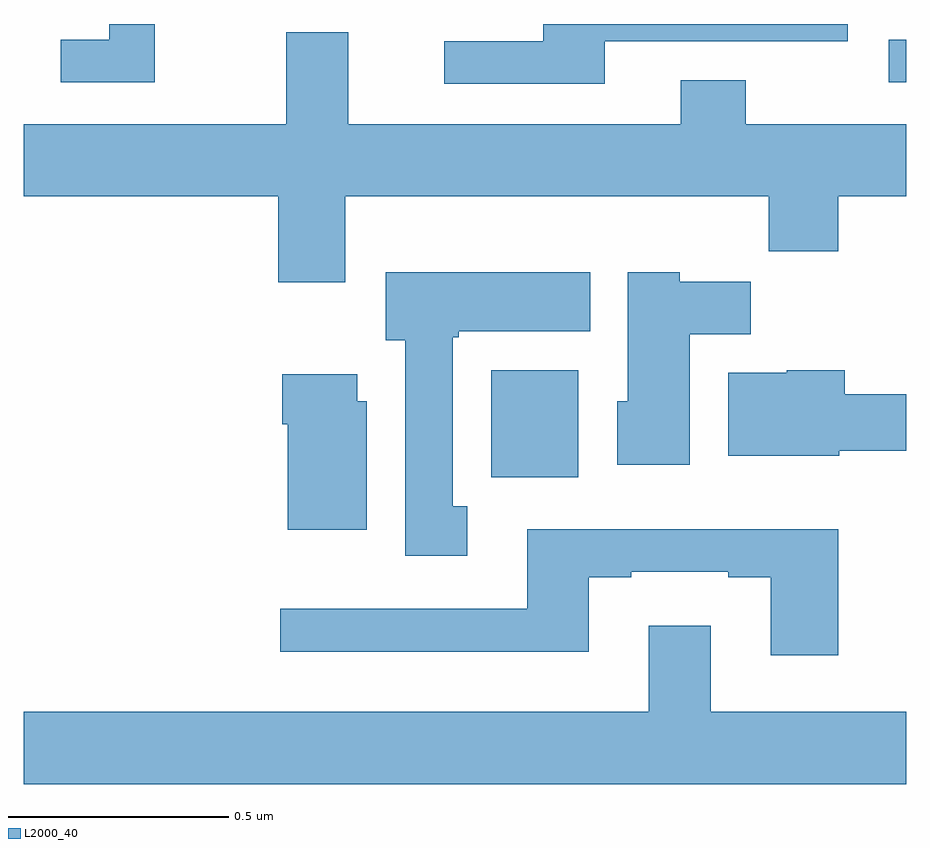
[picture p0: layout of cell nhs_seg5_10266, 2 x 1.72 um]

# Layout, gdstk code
import gdstk
lib = gdstk.Library(unit=1e-6, precision=1e-09)
def R(c, l, rs):  # rectangles x0, y0, x1, y1
    for r in rs: c.add(gdstk.rectangle(r[:2], r[2:], *l))
def P(c, l, *ps):  # polygons
    for p in ps: c.add(gdstk.Polygon(p, *l))
L2000_40 = (2000, 40)

nhs_seg5_10266 = lib.new_cell('nhs_seg5_10266')
R(nhs_seg5_10266, L2000_40, [(245.06,874.772,245.257,875.014), (245.961,875.667,246,875.763)])
P(nhs_seg5_10266, L2000_40, [(245.317,875.76),(245.868,875.76),(245.868,875.799),(245.177,875.799),(245.177,875.76),(244.953,875.76),(244.953,875.664),(245.317,875.664)],
  [(244.297,875.799),(244.193,875.799),(244.193,875.763),(244.083,875.763),(244.083,875.667),(244.297,875.667)],
  [(244.729,875.408),(245.689,875.408),(245.689,875.284),(245.846,875.284),(245.846,875.408),(246,875.408),(246,875.572),(245.637,875.572),(245.637,875.671),(245.489,875.671),(245.489,875.572),(244.735,875.572),(244.735,875.78),(244.595,875.78),(244.595,875.572),(244,875.572),(244,875.408),(244.577,875.408),(244.577,875.214),(244.729,875.214)],
  [(245.005,874.706),(244.972,874.706),(244.972,875.089),(244.986,875.089),(244.986,875.102),(245.284,875.102),(245.284,875.236),(244.82,875.236),(244.82,875.082),(244.865,875.082),(244.865,874.593),(245.005,874.593)],
  [(245.509,875.096),(245.648,875.096),(245.648,875.215),(245.487,875.215),(245.487,875.236),(245.369,875.236),(245.369,874.944),(245.345,874.944),(245.345,874.8),(245.509,874.8)],
  [(245.848,874.831),(246,874.831),(246,874.96),(245.861,874.96),(245.861,875.014),(245.73,875.014),(245.73,875.008),(245.597,875.008),(245.597,874.82),(245.848,874.82)],
  [(244.777,874.944),(244.756,874.944),(244.756,875.005),(244.586,875.005),(244.586,874.892),(244.598,874.892),(244.598,874.652),(244.777,874.652)],
  [(245.846,874.654),(245.141,874.654),(245.141,874.473),(244.581,874.473),(244.581,874.376),(245.281,874.376),(245.281,874.545),(245.377,874.545),(245.377,874.557),(245.597,874.557),(245.597,874.545),(245.693,874.545),(245.693,874.368),(245.846,874.368)],
  [(246,874.24),(245.557,874.24),(245.557,874.435),(245.417,874.435),(245.417,874.24),(244,874.24),(244,874.076),(246,874.076)])

lib.write_gds('nhs_seg5_10266.gds')
